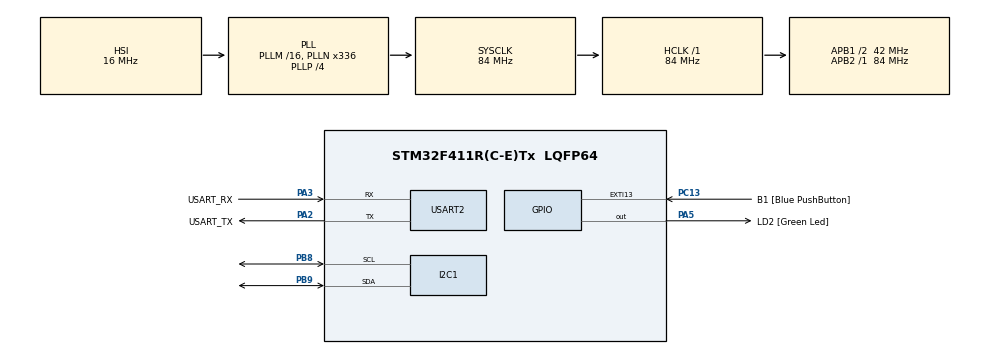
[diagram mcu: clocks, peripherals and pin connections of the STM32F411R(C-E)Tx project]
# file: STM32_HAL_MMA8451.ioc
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Mcu.Family=STM32F4
Mcu.Name=STM32F411R(C-E)Tx
Mcu.Package=LQFP64
NVIC.PriorityGroup=NVIC_PRIORITYGROUP_0
PA13.GPIO_Label=TMS
PA13.Signal=SYS_JTMS-SWDIO
PA14.GPIO_Label=TCK
PA14.Signal=SYS_JTCK-SWCLK
PA2.GPIO_Label=USART_TX
PA2.Mode=Asynchronous
PA2.Signal=USART2_TX
PA3.GPIO_Label=USART_RX
PA3.Mode=Asynchronous
PA3.Signal=USART2_RX
PA5.GPIO_Label=LD2 [Green Led]
PA5.Signal=GPIO_Output
PB3.GPIO_Label=SWO
PB3.Signal=SYS_JTDO-SWO
PB8.GPIO_Pu=GPIO_PULLUP
PB8.Mode=I2C
PB8.Signal=I2C1_SCL
PB9.GPIO_Pu=GPIO_PULLUP
PB9.Mode=I2C
PB9.Signal=I2C1_SDA
PC13-ANTI_TAMP.GPIO_Label=B1 [Blue PushButton]
PC13-ANTI_TAMP.GPIO_ModeDefaultEXTI=GPIO_MODE_IT_FALLING
PC13-ANTI_TAMP.Signal=GPXTI13
PC14-OSC32_IN.Signal=RCC_OSC32_IN
PC15-OSC32_OUT.Signal=RCC_OSC32_OUT
PH0\ -\ OSC_IN.Signal=RCC_OSC_IN
PH1\ -\ OSC_OUT.Signal=RCC_OSC_OUT
ProjectManager.HeapSize=0x200
ProjectManager.StackSize=0x400
ProjectManager.TargetToolchain=STM32CubeIDE
RCC.48MHZClocksFreq_Value=84000000
RCC.AHBFreq_Value=84000000
RCC.APB1CLKDivider=RCC_HCLK_DIV2
RCC.APB1Freq_Value=42000000
RCC.APB1TimFreq_Value=84000000
RCC.APB2Freq_Value=84000000
RCC.APB2TimFreq_Value=84000000
RCC.CortexFreq_Value=84000000
RCC.FLatency-AdvancedSettings=FLASH_LATENCY_2
RCC.HCLKFreq_Value=84000000
RCC.HSE_VALUE=8000000
RCC.HSI_VALUE=16000000
RCC.LSE_VALUE=32768
RCC.PLLN=336
RCC.PLLP=RCC_PLLP_DIV4
RCC.SYSCLKFreq_VALUE=84000000
RCC.SYSCLKSource=RCC_SYSCLKSOURCE_PLLCLK
RCC.VCOOutputFreq_Value=336000000
USART2.VirtualMode=VM_ASYNC
board=NUCLEO-F411RE

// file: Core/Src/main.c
/* USER CODE BEGIN Header */
/**
  ******************************************************************************
  * @file           : main.c
  * @brief          : Main program body
  ******************************************************************************
  * @attention
  *
  * Copyright (c) 2024 STMicroelectronics.
  * All rights reserved.
  *
  * This software is licensed under terms that can be found in the LICENSE file
  * in the root directory of this software component.
  * If no LICENSE file comes with this software, it is provided AS-IS.
  *
  ******************************************************************************
  */
/* USER CODE END Header */
#include <stdio.h>
#include <string.h>
#include "main.h"
/* USER CODE BEGIN Includes */
#include "MMA8451.h"
/* USER CODE END Includes */

/* USER CODE BEGIN PD */
#define MAX_UART_BUFFER		50
/* USER CODE END PD */

I2C_HandleTypeDef hi2c1;

UART_HandleTypeDef huart2;

void SystemClock_Config(void);
static void MX_GPIO_Init(void);
static void MX_I2C1_Init(void);
static void MX_USART2_UART_Init(void);
/* USER CODE BEGIN PFP */
void uart_transfer();
/* USER CODE END PFP */

/* USER CODE BEGIN 0 */
uint8_t uart_tx_buff[MAX_UART_BUFFER];
/* USER CODE END 0 */

int main(void)
{
  /* USER CODE BEGIN 1 */
	MMA8451 mma8451;
  /* USER CODE END 1 */

  /* MCU Configuration--------------------------------------------------------*/

  /* Reset of all peripherals, Initializes the Flash interface and the Systick. */
  HAL_Init();

  /* Configure the system clock */
  SystemClock_Config();

  /* Initialize all configured peripherals */
  MX_GPIO_Init();
  MX_I2C1_Init();
  MX_USART2_UART_Init();
  /* USER CODE BEGIN 2 */
  snprintf((char*) uart_tx_buff, MAX_UART_BUFFER, "Starting sensors.\r\n");
  uart_transfer();

  if(!MMA8451_Init(&mma8451, &hi2c1, MMA8451_DEFAULT_ADDRESS))
  {
	  snprintf((char*) uart_tx_buff, MAX_UART_BUFFER, "Error init accelerometer MMA8451.\r\n");
	  uart_transfer();
  }

  MMA8451_setRange(&mma8451, MMA8451_RANGE_2_G);

  snprintf((char*) uart_tx_buff, MAX_UART_BUFFER, "Range = %d G\r\n", MMA8451_getRange(&mma8451));
  uart_transfer();

  /* USER CODE END 2 */

  /* Infinite loop */
  /* USER CODE BEGIN WHILE */
  while (1)
  {
	  MMA8451_read(&mma8451);
	  snprintf((char*) uart_tx_buff, MAX_UART_BUFFER, "X = %.2f | Y = %.2f | Z = %.2f  m/s^2.\r\n", mma8451._xg * SENSORS_GRAVITY_STANDARD, mma8451._yg * SENSORS_GRAVITY_STANDARD, mma8451._zg * SENSORS_GRAVITY_STANDARD);
	  uart_transfer();

	  switch(MMA8451_getOrientation(&mma8451))
	  {
		case MMA8451_PL_PUF:
			snprintf((char*) uart_tx_buff, MAX_UART_BUFFER, "Portrait Up Front.\r\n");
			break;
		case MMA8451_PL_PUB:
			snprintf((char*) uart_tx_buff, MAX_UART_BUFFER, "Portrait Up Back.\r\n");
			break;
		case MMA8451_PL_PDF:
			snprintf((char*) uart_tx_buff, MAX_UART_BUFFER, "Portrait Down Front.\r\n");
			break;
		case MMA8451_PL_PDB:
			snprintf((char*) uart_tx_buff, MAX_UART_BUFFER, "Portrait Down Back.\r\n");
			break;
		case MMA8451_PL_LRF:
			snprintf((char*) uart_tx_buff, MAX_UART_BUFFER, "Landscape Right Front.\r\n");
			break;
		case MMA8451_PL_LRB:
			snprintf((char*) uart_tx_buff, MAX_UART_BUFFER, "Landscape Right Back.\r\n");
			break;
		case MMA8451_PL_LLF:
			snprintf((char*) uart_tx_buff, MAX_UART_BUFFER, "Landscape Left Front.\r\n");
			break;
		case MMA8451_PL_LLB:
			snprintf((char*) uart_tx_buff, MAX_UART_BUFFER, "Landscape Left Back.\r\n");
			break;
	  }
	  uart_transfer();

	  HAL_Delay(500);
    /* USER CODE END WHILE */

  }
}

void SystemClock_Config(void)
{
  RCC_OscInitTypeDef RCC_OscInitStruct = {0};
  RCC_ClkInitTypeDef RCC_ClkInitStruct = {0};

  /** Configure the main internal regulator output voltage
  */
  __HAL_RCC_PWR_CLK_ENABLE();
  __HAL_PWR_VOLTAGESCALING_CONFIG(PWR_REGULATOR_VOLTAGE_SCALE1);

  /** Initializes the RCC Oscillators according to the specified parameters
  * in the RCC_OscInitTypeDef structure.
  */
  RCC_OscInitStruct.OscillatorType = RCC_OSCILLATORTYPE_HSI;
  RCC_OscInitStruct.HSIState = RCC_HSI_ON;
  RCC_OscInitStruct.HSICalibrationValue = RCC_HSICALIBRATION_DEFAULT;
  RCC_OscInitStruct.PLL.PLLState = RCC_PLL_ON;
  RCC_OscInitStruct.PLL.PLLSource = RCC_PLLSOURCE_HSI;
  RCC_OscInitStruct.PLL.PLLM = 16;
  RCC_OscInitStruct.PLL.PLLN = 336;
  RCC_OscInitStruct.PLL.PLLP = RCC_PLLP_DIV4;
  RCC_OscInitStruct.PLL.PLLQ = 4;
  if (HAL_RCC_OscConfig(&RCC_OscInitStruct) != HAL_OK)
  {
    Error_Handler();
  }

  /** Initializes the CPU, AHB and APB buses clocks
  */
  RCC_ClkInitStruct.ClockType = RCC_CLOCKTYPE_HCLK|RCC_CLOCKTYPE_SYSCLK
                              |RCC_CLOCKTYPE_PCLK1|RCC_CLOCKTYPE_PCLK2;
  RCC_ClkInitStruct.SYSCLKSource = RCC_SYSCLKSOURCE_PLLCLK;
  RCC_ClkInitStruct.AHBCLKDivider = RCC_SYSCLK_DIV1;
  RCC_ClkInitStruct.APB1CLKDivider = RCC_HCLK_DIV2;
  RCC_ClkInitStruct.APB2CLKDivider = RCC_HCLK_DIV1;

  if (HAL_RCC_ClockConfig(&RCC_ClkInitStruct, FLASH_LATENCY_2) != HAL_OK)
  {
    Error_Handler();
  }
}

static void MX_I2C1_Init(void)
{

  hi2c1.Instance = I2C1;
  hi2c1.Init.ClockSpeed = 100000;
  hi2c1.Init.DutyCycle = I2C_DUTYCYCLE_2;
  hi2c1.Init.OwnAddress1 = 0;
  hi2c1.Init.AddressingMode = I2C_ADDRESSINGMODE_7BIT;
  hi2c1.Init.DualAddressMode = I2C_DUALADDRESS_DISABLE;
  hi2c1.Init.OwnAddress2 = 0;
  hi2c1.Init.GeneralCallMode = I2C_GENERALCALL_DISABLE;
  hi2c1.Init.NoStretchMode = I2C_NOSTRETCH_DISABLE;
  if (HAL_I2C_Init(&hi2c1) != HAL_OK)
  {
    Error_Handler();
  }

}

static void MX_USART2_UART_Init(void)
{

  huart2.Instance = USART2;
  huart2.Init.BaudRate = 115200;
  huart2.Init.WordLength = UART_WORDLENGTH_8B;
  huart2.Init.StopBits = UART_STOPBITS_1;
  huart2.Init.Parity = UART_PARITY_NONE;
  huart2.Init.Mode = UART_MODE_TX_RX;
  huart2.Init.HwFlowCtl = UART_HWCONTROL_NONE;
  huart2.Init.OverSampling = UART_OVERSAMPLING_16;
  if (HAL_UART_Init(&huart2) != HAL_OK)
  {
    Error_Handler();
  }

}

static void MX_GPIO_Init(void)
{
  GPIO_InitTypeDef GPIO_InitStruct = {0};

  /* GPIO Ports Clock Enable */
  __HAL_RCC_GPIOC_CLK_ENABLE();
  __HAL_RCC_GPIOH_CLK_ENABLE();
  __HAL_RCC_GPIOA_CLK_ENABLE();
  __HAL_RCC_GPIOB_CLK_ENABLE();

  /*Configure GPIO pin Output Level */
  HAL_GPIO_WritePin(LD2_GPIO_Port, LD2_Pin, GPIO_PIN_RESET);

  /*Configure GPIO pin : B1_Pin */
  GPIO_InitStruct.Pin = B1_Pin;
  GPIO_InitStruct.Mode = GPIO_MODE_IT_FALLING;
  GPIO_InitStruct.Pull = GPIO_NOPULL;
  HAL_GPIO_Init(B1_GPIO_Port, &GPIO_InitStruct);

  /*Configure GPIO pin : LD2_Pin */
  GPIO_InitStruct.Pin = LD2_Pin;
  GPIO_InitStruct.Mode = GPIO_MODE_OUTPUT_PP;
  GPIO_InitStruct.Pull = GPIO_NOPULL;
  GPIO_InitStruct.Speed = GPIO_SPEED_FREQ_LOW;
  HAL_GPIO_Init(LD2_GPIO_Port, &GPIO_InitStruct);

}

/* USER CODE BEGIN 4 */
void uart_transfer(void)
{
	  HAL_UART_Transmit(&huart2, uart_tx_buff, sizeof(uart_tx_buff), 1000);
	  memset(uart_tx_buff, '\0', MAX_UART_BUFFER);
}
/* USER CODE END 4 */

void Error_Handler(void)
{
  __disable_irq();
  while (1)
  {
  }
}
